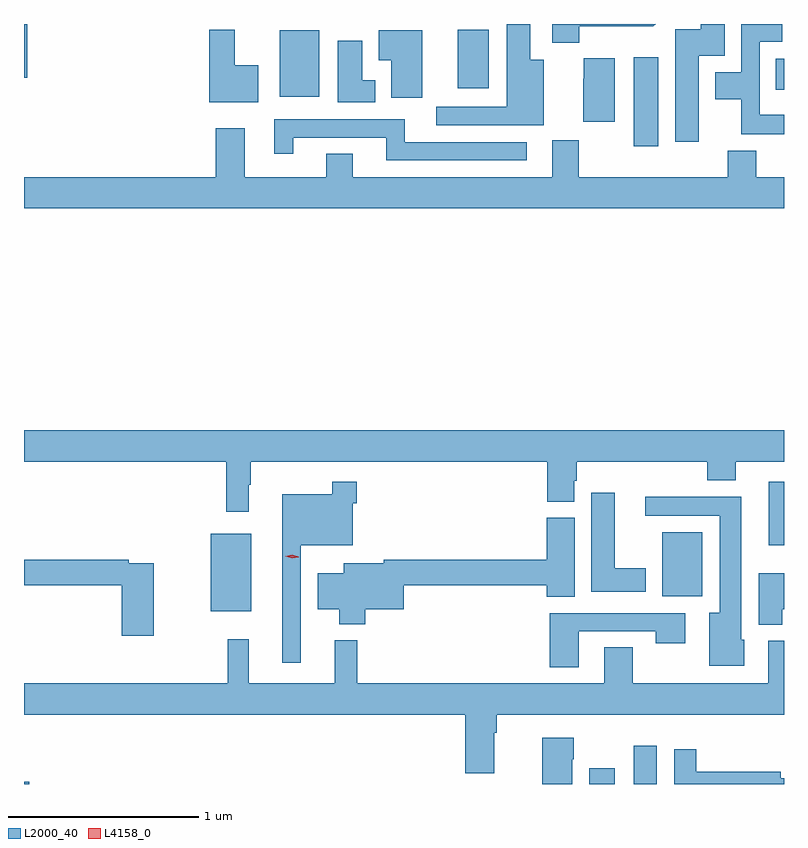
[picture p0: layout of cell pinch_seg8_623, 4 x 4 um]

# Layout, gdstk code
import gdstk
lib = gdstk.Library(unit=1e-6, precision=1e-09)
def R(c, l, rs):  # rectangles x0, y0, x1, y1
    for r in rs: c.add(gdstk.rectangle(r[:2], r[2:], *l))
def P(c, l, *ps):  # polygons
    for p in ps: c.add(gdstk.Polygon(p, *l))
L2000_40 = (2000, 40)
L4158_0 = (4158, 0)

pinch_seg8_623 = lib.new_cell('pinch_seg8_623')
R(pinch_seg8_623, L2000_40, [(268.048,1114.803,268.075,1114.815), (271.022,1114.803,271.156,1114.885), (271.256,1114.803,271.378,1115.005), (269.03,1115.711,269.245,1116.121), (271.406,1115.792,271.618,1116.127), (271.968,1116.059,272.048,1116.394), (271.256,1118.16,271.387,1118.629), (269.393,1118.42,269.602,1118.77), (272.005,1118.456,272.048,1118.62), (270.332,1118.466,270.493,1118.774), (268.048,1118.519,268.066,1118.803)])
P(pinch_seg8_623, L2000_40, [(272.048,1118.326),(271.92,1118.326),(271.92,1118.709),(272.038,1118.709),(272.038,1118.803),(271.824,1118.803),(271.824,1118.548),(271.685,1118.548),(271.685,1118.408),(271.822,1118.408),(271.822,1118.222),(272.048,1118.222)],
  [(271.6,1118.636),(271.735,1118.636),(271.735,1118.803),(271.61,1118.803),(271.61,1118.775),(271.475,1118.775),(271.475,1118.184),(271.6,1118.184)],
  [(270.784,1118.614),(270.712,1118.614),(270.712,1118.803),(270.59,1118.803),(270.59,1118.367),(270.219,1118.367),(270.219,1118.271),(270.784,1118.271)],
  [(270.97,1118.79),(271.359,1118.79),(271.372,1118.803),(270.827,1118.803),(270.827,1118.705),(270.97,1118.705)],
  [(269.281,1118.587),(269.158,1118.587),(269.158,1118.774),(269.024,1118.774),(269.024,1118.39),(269.281,1118.39)],
  [(270.145,1118.77),(269.916,1118.77),(269.916,1118.612),(269.981,1118.612),(269.981,1118.415),(270.145,1118.415)],
  [(269.896,1118.506),(269.827,1118.506),(269.827,1118.716),(269.699,1118.716),(269.699,1118.39),(269.896,1118.39)],
  [(271.156,1118.623),(270.994,1118.623),(270.994,1118.516),(270.992,1118.516),(270.992,1118.289),(271.156,1118.289)],
  [(270.694,1118.181),(270.052,1118.181),(270.052,1118.301),(269.366,1118.301),(269.366,1118.121),(269.464,1118.121),(269.464,1118.205),(269.954,1118.205),(269.954,1118.085),(270.694,1118.085)],
  [(269.639,1118.12),(269.639,1117.996),(269.209,1117.996),(269.209,1118.254),(269.057,1118.254),(269.057,1117.996),(268.048,1117.996),(268.048,1117.832),(272.048,1117.832),(272.048,1117.996),(271.903,1117.996),(271.903,1118.137),(271.751,1118.137),(271.751,1117.996),(270.967,1117.996),(270.967,1118.191),(270.827,1118.191),(270.827,1117.996),(269.779,1117.996),(269.779,1118.12)],
  [(269.23,1116.377),(269.242,1116.377),(269.242,1116.5),(270.803,1116.5),(270.803,1116.289),(270.943,1116.289),(270.943,1116.399),(270.956,1116.399),(270.956,1116.5),(271.643,1116.5),(271.643,1116.401),(271.795,1116.401),(271.795,1116.5),(272.048,1116.5),(272.048,1116.664),(268.048,1116.664),(268.048,1116.5),(269.113,1116.5),(269.113,1116.237),(269.23,1116.237)],
  [(269.505,1116.059),(269.778,1116.059),(269.778,1116.281),(269.798,1116.281),(269.798,1116.394),(269.67,1116.394),(269.67,1116.328),(269.408,1116.328),(269.408,1115.442),(269.505,1115.442)],
  [(271.321,1115.938),(271.156,1115.938),(271.156,1116.337),(271.034,1116.337),(271.034,1115.816),(271.321,1115.816)],
  [(271.84,1115.562),(271.822,1115.562),(271.822,1116.314),(271.317,1116.314),(271.317,1116.216),(271.709,1116.216),(271.709,1115.704),(271.655,1115.704),(271.655,1115.426),(271.84,1115.426)],
  [(269.843,1115.723),(270.046,1115.723),(270.046,1115.848),(270.8,1115.848),(270.8,1115.788),(270.946,1115.788),(270.946,1116.204),(270.8,1116.204),(270.8,1115.984),(269.942,1115.984),(269.942,1115.965),(269.732,1115.965),(269.732,1115.911),(269.594,1115.911),(269.594,1115.723),(269.708,1115.723),(269.708,1115.645),(269.843,1115.645)],
  [(268.732,1115.964),(268.598,1115.964),(268.598,1115.984),(268.048,1115.984),(268.048,1115.848),(268.562,1115.848),(268.562,1115.583),(268.732,1115.583)],
  [(272.038,1115.723),(272.048,1115.723),(272.048,1115.911),(271.916,1115.911),(271.916,1115.642),(272.038,1115.642)],
  [(270.967,1115.607),(271.372,1115.607),(271.372,1115.544),(271.528,1115.544),(271.528,1115.703),(270.815,1115.703),(270.815,1115.418),(270.967,1115.418)],
  [(270.523,1115.072),(270.536,1115.072),(270.536,1115.168),(272.048,1115.168),(272.048,1115.557),(271.965,1115.557),(271.965,1115.332),(271.251,1115.332),(271.251,1115.522),(271.103,1115.522),(271.103,1115.332),(269.801,1115.332),(269.801,1115.56),(269.684,1115.56),(269.684,1115.332),(269.231,1115.332),(269.231,1115.566),(269.121,1115.566),(269.121,1115.332),(268.048,1115.332),(268.048,1115.168),(270.371,1115.168),(270.371,1114.859),(270.523,1114.859)],
  [(270.934,1114.934),(270.942,1114.934),(270.942,1115.047),(270.776,1115.047),(270.776,1114.803),(270.934,1114.803)],
  [(272.048,1114.833),(272.032,1114.833),(272.032,1114.867),(271.586,1114.867),(271.586,1114.987),(271.47,1114.987),(271.47,1114.803),(272.048,1114.803)])
P(pinch_seg8_623, L4158_0, [(269.459,1115.99),(269.424,1116.001),(269.424,1116.002),(269.424,1116.002),(269.46,1116.01),(269.495,1115.998),(269.495,1115.997),(269.495,1115.997)])

lib.write_gds('pinch_seg8_623.gds')
